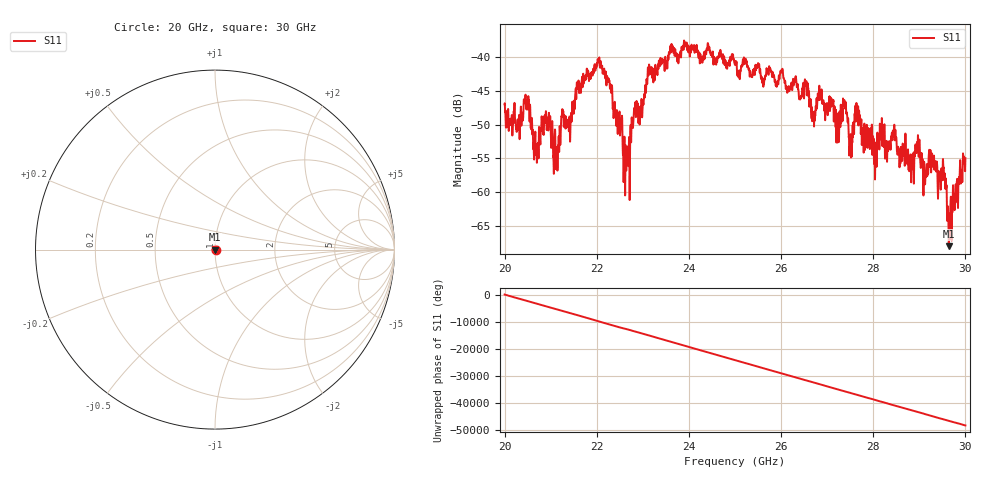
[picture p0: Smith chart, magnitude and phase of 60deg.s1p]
#  HZ  S  RI  R  50.00
! Rohde & Schwarz ZVA40 4Ports - Version 3.90 - 1145.1110k42 SN: 100403
! Date: 2023-10-03 12:58:48
! Measurement: S12
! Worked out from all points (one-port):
!   5001 points, 20 GHz to 30 GHz, reference 50 ohm
!   lowest |S11| = -68.0 dB at 29.64 GHz (marker M1), VSWR 1.00, Z = 50 - j0.037 ohm
!   |S11| at or under -10 dB: start of sweep to end of sweep
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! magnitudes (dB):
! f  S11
! 20 GHz  -47.0
! 20.29 GHz  -49.8
! 20.48 GHz  -47.7
! 20.67 GHz  -51.7
! 20.94 GHz  -49.6
! 21.1 GHz  -54.5
! 21.25 GHz  -47.9
! 22.05 GHz  -40.3
! 22.5 GHz  -50.3
! 22.66 GHz  -54.8
! 22.8 GHz  -48.8
! 23.15 GHz  -42.0
! 23.75 GHz  -40.6
! 25 GHz  -41.2
! 26.25 GHz  -44.2
! 26.56 GHz  -45.7
! 26.7 GHz  -48.2
! 26.84 GHz  -46.0
! 27.22 GHz  -49.3
! 27.39 GHz  -47.5
! 27.5 GHz  -51.8
! 27.65 GHz  -48.8
! 28.03 GHz  -52.8
! 28.44 GHz  -51.5
! 28.75 GHz  -54.1
! 29.52 GHz  -56.5
! 29.64 GHz  -68.0
! 30 GHz  -55.0
